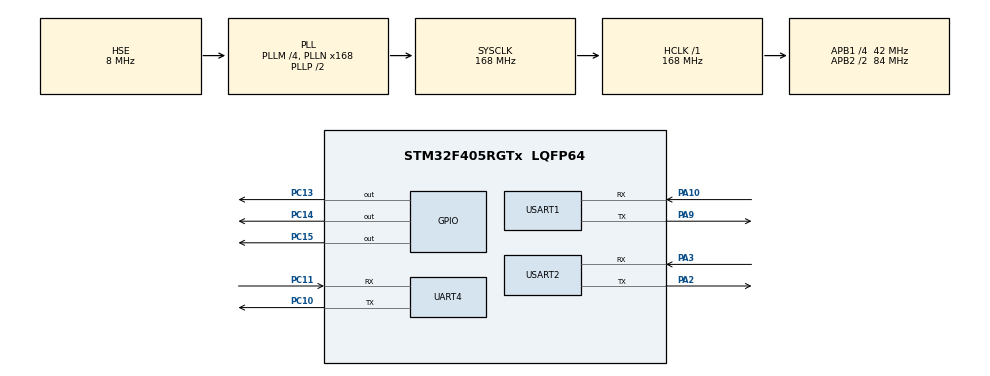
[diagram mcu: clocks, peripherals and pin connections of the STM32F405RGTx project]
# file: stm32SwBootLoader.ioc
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Dma.Request0=UART4_TX
Dma.Request1=UART4_RX
Dma.Request2=USART2_TX
Dma.Request3=USART2_RX
Dma.Request4=USART1_TX
Dma.Request5=USART1_RX
Dma.UART4_RX.1.Direction=DMA_PERIPH_TO_MEMORY
Dma.UART4_RX.1.FIFOMode=DMA_FIFOMODE_DISABLE
Dma.UART4_RX.1.Instance=DMA1_Stream2
Dma.UART4_RX.1.MemDataAlignment=DMA_MDATAALIGN_BYTE
Dma.UART4_RX.1.MemInc=DMA_MINC_ENABLE
Dma.UART4_RX.1.Mode=DMA_CIRCULAR
Dma.UART4_RX.1.PeriphDataAlignment=DMA_PDATAALIGN_BYTE
Dma.UART4_RX.1.PeriphInc=DMA_PINC_DISABLE
Dma.UART4_RX.1.Priority=DMA_PRIORITY_HIGH
Dma.UART4_TX.0.Direction=DMA_MEMORY_TO_PERIPH
Dma.UART4_TX.0.FIFOMode=DMA_FIFOMODE_DISABLE
Dma.UART4_TX.0.Instance=DMA1_Stream4
Dma.UART4_TX.0.MemDataAlignment=DMA_MDATAALIGN_BYTE
Dma.UART4_TX.0.MemInc=DMA_MINC_ENABLE
Dma.UART4_TX.0.Mode=DMA_NORMAL
Dma.UART4_TX.0.PeriphDataAlignment=DMA_PDATAALIGN_BYTE
Dma.UART4_TX.0.PeriphInc=DMA_PINC_DISABLE
Dma.UART4_TX.0.Priority=DMA_PRIORITY_HIGH
Dma.USART1_RX.5.Direction=DMA_PERIPH_TO_MEMORY
Dma.USART1_RX.5.FIFOMode=DMA_FIFOMODE_DISABLE
Dma.USART1_RX.5.Instance=DMA2_Stream2
Dma.USART1_RX.5.MemDataAlignment=DMA_MDATAALIGN_BYTE
Dma.USART1_RX.5.MemInc=DMA_MINC_ENABLE
Dma.USART1_RX.5.Mode=DMA_CIRCULAR
Dma.USART1_RX.5.PeriphDataAlignment=DMA_PDATAALIGN_BYTE
Dma.USART1_RX.5.PeriphInc=DMA_PINC_DISABLE
Dma.USART1_RX.5.Priority=DMA_PRIORITY_LOW
Dma.USART1_TX.4.Direction=DMA_MEMORY_TO_PERIPH
Dma.USART1_TX.4.FIFOMode=DMA_FIFOMODE_DISABLE
Dma.USART1_TX.4.Instance=DMA2_Stream7
Dma.USART1_TX.4.MemDataAlignment=DMA_MDATAALIGN_BYTE
Dma.USART1_TX.4.MemInc=DMA_MINC_ENABLE
Dma.USART1_TX.4.Mode=DMA_NORMAL
Dma.USART1_TX.4.PeriphDataAlignment=DMA_PDATAALIGN_BYTE
Dma.USART1_TX.4.PeriphInc=DMA_PINC_DISABLE
Dma.USART1_TX.4.Priority=DMA_PRIORITY_LOW
Dma.USART2_RX.3.Direction=DMA_PERIPH_TO_MEMORY
Dma.USART2_RX.3.FIFOMode=DMA_FIFOMODE_DISABLE
Dma.USART2_RX.3.Instance=DMA1_Stream5
Dma.USART2_RX.3.MemDataAlignment=DMA_MDATAALIGN_BYTE
Dma.USART2_RX.3.MemInc=DMA_MINC_ENABLE
Dma.USART2_RX.3.Mode=DMA_CIRCULAR
Dma.USART2_RX.3.PeriphDataAlignment=DMA_PDATAALIGN_BYTE
Dma.USART2_RX.3.PeriphInc=DMA_PINC_DISABLE
Dma.USART2_RX.3.Priority=DMA_PRIORITY_HIGH
Dma.USART2_TX.2.Direction=DMA_MEMORY_TO_PERIPH
Dma.USART2_TX.2.FIFOMode=DMA_FIFOMODE_DISABLE
Dma.USART2_TX.2.Instance=DMA1_Stream6
Dma.USART2_TX.2.MemDataAlignment=DMA_MDATAALIGN_BYTE
Dma.USART2_TX.2.MemInc=DMA_MINC_ENABLE
Dma.USART2_TX.2.Mode=DMA_NORMAL
Dma.USART2_TX.2.PeriphDataAlignment=DMA_PDATAALIGN_BYTE
Dma.USART2_TX.2.PeriphInc=DMA_PINC_DISABLE
Dma.USART2_TX.2.Priority=DMA_PRIORITY_HIGH
Mcu.Family=STM32F4
Mcu.Name=STM32F405RGTx
Mcu.Package=LQFP64
NVIC.DMA1_Stream2_IRQn=true\:0\:0\:false\:false\:true\:false\:true
NVIC.DMA1_Stream4_IRQn=true\:0\:0\:false\:false\:true\:false\:true
NVIC.DMA1_Stream5_IRQn=true\:0\:0\:false\:false\:true\:false\:true
NVIC.DMA1_Stream6_IRQn=true\:0\:0\:false\:false\:true\:false\:true
NVIC.DMA2_Stream2_IRQn=true\:0\:0\:false\:false\:true\:false\:true
NVIC.DMA2_Stream7_IRQn=true\:0\:0\:false\:false\:true\:false\:true
NVIC.PriorityGroup=NVIC_PRIORITYGROUP_4
NVIC.UART4_IRQn=true\:0\:0\:false\:false\:true\:true\:true
NVIC.USART1_IRQn=true\:0\:0\:false\:false\:true\:true\:true
NVIC.USART2_IRQn=true\:0\:0\:false\:false\:true\:true\:true
PA10.Mode=Asynchronous
PA10.Signal=USART1_RX
PA13.Mode=Serial_Wire
PA13.Signal=SYS_JTMS-SWDIO
PA14.Mode=Serial_Wire
PA14.Signal=SYS_JTCK-SWCLK
PA2.Mode=Asynchronous
PA2.Signal=USART2_TX
PA3.Mode=Asynchronous
PA3.Signal=USART2_RX
PA9.Mode=Asynchronous
PA9.Signal=USART1_TX
PC10.Mode=Asynchronous
PC10.Signal=UART4_TX
PC11.Mode=Asynchronous
PC11.Signal=UART4_RX
PC13-ANTI_TAMP.PinState=GPIO_PIN_SET
PC13-ANTI_TAMP.Signal=GPIO_Output
PC14-OSC32_IN.PinState=GPIO_PIN_SET
PC14-OSC32_IN.Signal=GPIO_Output
PC15-OSC32_OUT.PinState=GPIO_PIN_SET
PC15-OSC32_OUT.Signal=GPIO_Output
PH0-OSC_IN.Mode=HSE-External-Oscillator
PH0-OSC_IN.Signal=RCC_OSC_IN
PH1-OSC_OUT.Mode=HSE-External-Oscillator
PH1-OSC_OUT.Signal=RCC_OSC_OUT
ProjectManager.HeapSize=0x200
ProjectManager.StackSize=0x400
ProjectManager.TargetToolchain=STM32CubeIDE
RCC.48MHZClocksFreq_Value=84000000
RCC.AHBFreq_Value=168000000
RCC.APB1CLKDivider=RCC_HCLK_DIV4
RCC.APB1Freq_Value=42000000
RCC.APB1TimFreq_Value=84000000
RCC.APB2CLKDivider=RCC_HCLK_DIV2
RCC.APB2Freq_Value=84000000
RCC.APB2TimFreq_Value=168000000
RCC.CortexFreq_Value=168000000
RCC.HCLKFreq_Value=168000000
RCC.HSE_VALUE=8000000
RCC.HSI_VALUE=16000000
RCC.LSE_VALUE=32768
RCC.PLLM=4
RCC.PLLN=168
RCC.PLLSourceVirtual=RCC_PLLSOURCE_HSE
RCC.SYSCLKFreq_VALUE=168000000
RCC.SYSCLKSource=RCC_SYSCLKSOURCE_PLLCLK
RCC.VCOOutputFreq_Value=336000000
UART4.VirtualMode=Asynchronous
USART1.VirtualMode=VM_ASYNC
USART2.VirtualMode=VM_ASYNC
board=custom

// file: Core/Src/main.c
/* USER CODE BEGIN Header */
/**
  ******************************************************************************
  * @file           : main.c
  * @brief          : Main program body
  ******************************************************************************
  * @attention
  *
  * Copyright (c) 2022 STMicroelectronics.
  * All rights reserved.
  *
  * This software is licensed under terms that can be found in the LICENSE file
  * in the root directory of this software component.
  * If no LICENSE file comes with this software, it is provided AS-IS.
  *
  ******************************************************************************
  */
/* USER CODE END Header */
#include "main.h"

/* USER CODE BEGIN Includes */
#if (USE_MAVLINK_BOOTLOADER == 1)
#include "swBootLoader.h"
#include "sotfEmulations.h"
#endif

#if (USE_HOST_BOOTLOADER == 1)
#include "hostUartBootLoader.h"
#endif

#if (USE_DEVICE_BOOTLOADER == 1)
#include "uartBootLoader.h"
#endif

#if(USE_MAVLINK_CONTROL == 1)
#include "mavlinkControl.h"
#endif
/* USER CODE END Includes */

UART_HandleTypeDef huart4;
UART_HandleTypeDef huart1;
UART_HandleTypeDef huart2;
DMA_HandleTypeDef hdma_uart4_tx;
DMA_HandleTypeDef hdma_uart4_rx;
DMA_HandleTypeDef hdma_usart1_tx;
DMA_HandleTypeDef hdma_usart1_rx;
DMA_HandleTypeDef hdma_usart2_tx;
DMA_HandleTypeDef hdma_usart2_rx;

/* USER CODE BEGIN PV */
#if (USE_HOST_BOOTLOADER == 1)
	hostBootLoader_t host;
#endif
/* USER CODE END PV */

void SystemClock_Config(void);
static void MX_GPIO_Init(void);
static void MX_DMA_Init(void);
static void MX_UART4_Init(void);
static void MX_USART2_UART_Init(void);
static void MX_USART1_UART_Init(void);

/* USER CODE BEGIN 0 */
int _write(int file, char *ptr, int len)
{
  HAL_UART_Transmit(&huart1, (uint8_t *)ptr, len, 10);
  return len;
}
/* USER CODE END 0 */

int main(void)
{
  /* USER CODE BEGIN 1 */
	setbuf(stdout, NULL);
  /* USER CODE END 1 */

  /* MCU Configuration--------------------------------------------------------*/

  /* Reset of all peripherals, Initializes the Flash interface and the Systick. */
  HAL_Init();

  /* Configure the system clock */
  SystemClock_Config();

  /* Initialize all configured peripherals */
  MX_GPIO_Init();
  MX_DMA_Init();
  MX_UART4_Init();
  MX_USART2_UART_Init();
  MX_USART1_UART_Init();
  /* USER CODE BEGIN 2 */
#if (USE_MAVLINK_BOOTLOADER == 1)
	swBootLoaderConfiguration();

//	sotfEmulations_configuration();
#endif

#if (USE_HOST_BOOTLOADER == 1)
  hostUartBootLoaderConfiguration(&host, &huart2);
#endif

#if (USE_DEVICE_BOOTLOADER == 1)
  uartBootLoaderConfiguration();
#endif

#if(USE_MAVLINK_CONTROL == 1 && USE_HOST_BOOTLOADER == 0)
  mavlinhControlConfiguration();
#endif
  /* USER CODE END 2 */

  /* Infinite loop */
  /* USER CODE BEGIN WHILE */
  while (1)
  {
#if (USE_MAVLINK_BOOTLOADER == 1)
	  swBootLoader_process();
#endif

#if (USE_HOST_BOOTLOADER == 1)
	  hostUartBootLoaderProcess();
#endif

#if (USE_DEVICE_BOOTLOADER == 1)
	  uartBootLoaderProcess();
#endif
#if(USE_MAVLINK_CONTROL == 1 && USE_HOST_BOOTLOADER == 0)
	  mavlinkControl_process();
#endif
    /* USER CODE END WHILE */

  }
}

void SystemClock_Config(void)
{
  RCC_OscInitTypeDef RCC_OscInitStruct = {0};
  RCC_ClkInitTypeDef RCC_ClkInitStruct = {0};

  /** Configure the main internal regulator output voltage
  */
  __HAL_RCC_PWR_CLK_ENABLE();
  __HAL_PWR_VOLTAGESCALING_CONFIG(PWR_REGULATOR_VOLTAGE_SCALE1);
  /** Initializes the RCC Oscillators according to the specified parameters
  * in the RCC_OscInitTypeDef structure.
  */
  RCC_OscInitStruct.OscillatorType = RCC_OSCILLATORTYPE_HSE;
  RCC_OscInitStruct.HSEState = RCC_HSE_ON;
  RCC_OscInitStruct.PLL.PLLState = RCC_PLL_ON;
  RCC_OscInitStruct.PLL.PLLSource = RCC_PLLSOURCE_HSE;
  RCC_OscInitStruct.PLL.PLLM = 4;
  RCC_OscInitStruct.PLL.PLLN = 168;
  RCC_OscInitStruct.PLL.PLLP = RCC_PLLP_DIV2;
  RCC_OscInitStruct.PLL.PLLQ = 4;
  if (HAL_RCC_OscConfig(&RCC_OscInitStruct) != HAL_OK)
  {
    Error_Handler();
  }
  /** Initializes the CPU, AHB and APB buses clocks
  */
  RCC_ClkInitStruct.ClockType = RCC_CLOCKTYPE_HCLK|RCC_CLOCKTYPE_SYSCLK
                              |RCC_CLOCKTYPE_PCLK1|RCC_CLOCKTYPE_PCLK2;
  RCC_ClkInitStruct.SYSCLKSource = RCC_SYSCLKSOURCE_PLLCLK;
  RCC_ClkInitStruct.AHBCLKDivider = RCC_SYSCLK_DIV1;
  RCC_ClkInitStruct.APB1CLKDivider = RCC_HCLK_DIV4;
  RCC_ClkInitStruct.APB2CLKDivider = RCC_HCLK_DIV2;

  if (HAL_RCC_ClockConfig(&RCC_ClkInitStruct, FLASH_LATENCY_5) != HAL_OK)
  {
    Error_Handler();
  }
}

static void MX_UART4_Init(void)
{

  huart4.Instance = UART4;
  huart4.Init.BaudRate = 115200;
  huart4.Init.WordLength = UART_WORDLENGTH_8B;
  huart4.Init.StopBits = UART_STOPBITS_1;
  huart4.Init.Parity = UART_PARITY_NONE;
  huart4.Init.Mode = UART_MODE_TX_RX;
  huart4.Init.HwFlowCtl = UART_HWCONTROL_NONE;
  huart4.Init.OverSampling = UART_OVERSAMPLING_16;
  if (HAL_UART_Init(&huart4) != HAL_OK)
  {
    Error_Handler();
  }

}

static void MX_USART1_UART_Init(void)
{

  huart1.Instance = USART1;
  huart1.Init.BaudRate = 115200;
  huart1.Init.WordLength = UART_WORDLENGTH_8B;
  huart1.Init.StopBits = UART_STOPBITS_1;
  huart1.Init.Parity = UART_PARITY_NONE;
  huart1.Init.Mode = UART_MODE_TX_RX;
  huart1.Init.HwFlowCtl = UART_HWCONTROL_NONE;
  huart1.Init.OverSampling = UART_OVERSAMPLING_16;
  if (HAL_UART_Init(&huart1) != HAL_OK)
  {
    Error_Handler();
  }

}

static void MX_USART2_UART_Init(void)
{

  huart2.Instance = USART2;
  huart2.Init.BaudRate = 115200;
  huart2.Init.WordLength = UART_WORDLENGTH_8B;
  huart2.Init.StopBits = UART_STOPBITS_1;
  huart2.Init.Parity = UART_PARITY_NONE;
  huart2.Init.Mode = UART_MODE_TX_RX;
  huart2.Init.HwFlowCtl = UART_HWCONTROL_NONE;
  huart2.Init.OverSampling = UART_OVERSAMPLING_16;
  if (HAL_UART_Init(&huart2) != HAL_OK)
  {
    Error_Handler();
  }

}

static void MX_DMA_Init(void)
{

  /* DMA controller clock enable */
  __HAL_RCC_DMA1_CLK_ENABLE();
  __HAL_RCC_DMA2_CLK_ENABLE();

  /* DMA interrupt init */
  /* DMA1_Stream2_IRQn interrupt configuration */
  HAL_NVIC_SetPriority(DMA1_Stream2_IRQn, 0, 0);
  HAL_NVIC_EnableIRQ(DMA1_Stream2_IRQn);
  /* DMA1_Stream4_IRQn interrupt configuration */
  HAL_NVIC_SetPriority(DMA1_Stream4_IRQn, 0, 0);
  HAL_NVIC_EnableIRQ(DMA1_Stream4_IRQn);
  /* DMA1_Stream5_IRQn interrupt configuration */
  HAL_NVIC_SetPriority(DMA1_Stream5_IRQn, 0, 0);
  HAL_NVIC_EnableIRQ(DMA1_Stream5_IRQn);
  /* DMA1_Stream6_IRQn interrupt configuration */
  HAL_NVIC_SetPriority(DMA1_Stream6_IRQn, 0, 0);
  HAL_NVIC_EnableIRQ(DMA1_Stream6_IRQn);
  /* DMA2_Stream2_IRQn interrupt configuration */
  HAL_NVIC_SetPriority(DMA2_Stream2_IRQn, 0, 0);
  HAL_NVIC_EnableIRQ(DMA2_Stream2_IRQn);
  /* DMA2_Stream7_IRQn interrupt configuration */
  HAL_NVIC_SetPriority(DMA2_Stream7_IRQn, 0, 0);
  HAL_NVIC_EnableIRQ(DMA2_Stream7_IRQn);

}

static void MX_GPIO_Init(void)
{
  GPIO_InitTypeDef GPIO_InitStruct = {0};

  /* GPIO Ports Clock Enable */
  __HAL_RCC_GPIOC_CLK_ENABLE();
  __HAL_RCC_GPIOH_CLK_ENABLE();
  __HAL_RCC_GPIOA_CLK_ENABLE();

  /*Configure GPIO pin Output Level */
  HAL_GPIO_WritePin(GPIOC, GPIO_PIN_13|GPIO_PIN_14|GPIO_PIN_15, GPIO_PIN_SET);

  /*Configure GPIO pins : PC13 PC14 PC15 */
  GPIO_InitStruct.Pin = GPIO_PIN_13|GPIO_PIN_14|GPIO_PIN_15;
  GPIO_InitStruct.Mode = GPIO_MODE_OUTPUT_PP;
  GPIO_InitStruct.Pull = GPIO_NOPULL;
  GPIO_InitStruct.Speed = GPIO_SPEED_FREQ_LOW;
  HAL_GPIO_Init(GPIOC, &GPIO_InitStruct);

}

void Error_Handler(void)
{
  /* USER CODE BEGIN Error_Handler_Debug */
  /* User can add his own implementation to report the HAL error return state */
  __disable_irq();
  while (1)
  {
	  printf("\n[Error_Handler] ......\n");
	  HAL_Delay(1000);
  }
  /* USER CODE END Error_Handler_Debug */
}
